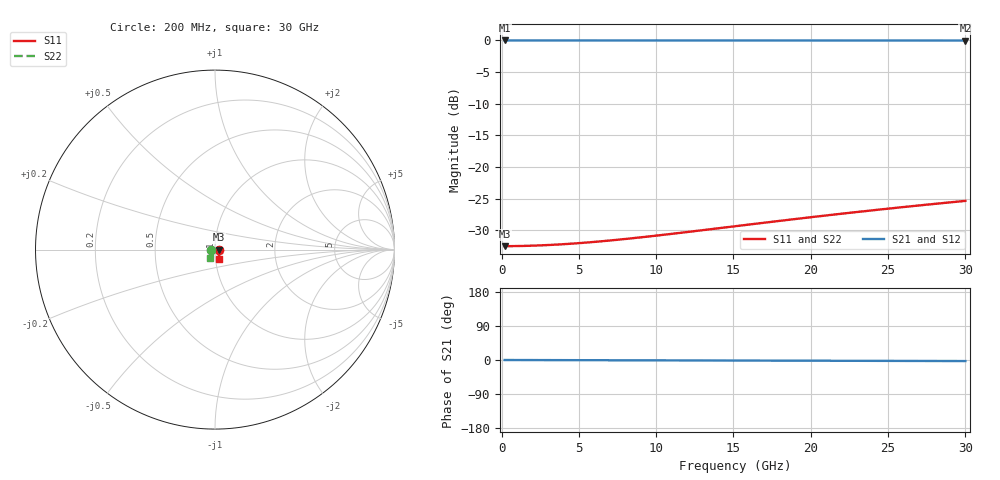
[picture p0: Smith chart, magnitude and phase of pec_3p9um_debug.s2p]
! Touchstone file exported from HFSS 2026.1.0
!  File:  C:/Users/urbaneja/Ansys/Project1.aedt
!  Generated:  01:16:19 PM Aug 10, 2026
!  Design:  HFSSDesign_PEC_sheet_debug
!  Project:  Project1
!  Setup:  Setup1
!  Solution:  Sweep_discrete_debug
! Variables:
!  port_below = 1um
!  port_width = 30um
!  stub_length = 3.9um
# GHz S MA R 50.000000
! Terminal data exported
! Port[1] = Port1
! Port[2] = Port2
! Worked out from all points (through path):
!   61 points, 200 MHz to 30 GHz, reference 50 ohm
!   highest |S21| = 0.00 dB at 200 MHz (marker M1); lowest = 0.0 dB at 30 GHz (marker M2)
!   lowest |S11| = -32.5 dB at 200 MHz (marker M3), VSWR 1.05, Z = 52.4 - j0.0348 ohm
!   |S11| at or under -10 dB: start of sweep to end of sweep
!   |S22| runs from -32.5 to -25.4 dB; largest |S21 - S12| = 7e-15
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0.2  0.02368 -0.8  0.9997 -0.0  0.9997 -0.0  0.02368 -179.2
! Gamma 0 12.9208215468787 0 12.9317684025605
! Port Impedance 50 0 50 0
0.6966667  0.0237 -2.8  0.9997 -0.1  0.9997 -0.1  0.0237 -177.3
1.193333  0.02376 -4.8  0.9997 -0.1  0.9997 -0.1  0.02376 -175.4
1.69  0.02384 -6.8  0.9997 -0.2  0.9997 -0.2  0.02384 -173.6
2.683333  0.02407 -10.6  0.9997 -0.3  0.9997 -0.3  0.02407 -169.9
3.676667  0.02441 -14.5  0.9997 -0.3  0.9997 -0.3  0.02441 -166.2
4.173333  0.02462 -16.3  0.9997 -0.4  0.9997 -0.4  0.02462 -164.5
5.166667  0.02511 -19.9  0.9997 -0.5  0.9997 -0.5  0.02511 -161.0
6.16  0.02569 -23.4  0.9997 -0.6  0.9997 -0.6  0.02569 -157.7
6.656667  0.02601 -25.1  0.9997 -0.6  0.9997 -0.6  0.02601 -156.2
7.65  0.02672 -28.3  0.9996 -0.7  0.9996 -0.7  0.02672 -153.1
9.14  0.02792 -32.9  0.9996 -0.9  0.9996 -0.9  0.02792 -148.9
10.63  0.02927 -37.0  0.9996 -1.0  0.9996 -1.0  0.02927 -145.0
12.61667  0.03126 -42.0  0.9995 -1.2  0.9995 -1.2  0.03126 -140.4
15.1  0.03402 -47.3  0.9994 -1.4  0.9994 -1.4  0.03402 -135.5
17.58333  0.03701 -51.9  0.9993 -1.7  0.9993 -1.7  0.03701 -131.4
20.06667  0.04018 -55.8  0.9992 -1.9  0.9992 -1.9  0.04018 -128.0
21.55667  0.04215 -57.9  0.9991 -2.0  0.9991 -2.0  0.04215 -126.2
23.04667  0.04416 -59.8  0.999 -2.2  0.999 -2.2  0.04416 -124.6
25.53  0.0476 -62.6  0.9989 -2.4  0.9989 -2.4  0.0476 -122.2
27.51667  0.0504 -64.6  0.9987 -2.6  0.9987 -2.6  0.0504 -120.6
30  0.05397 -66.8  0.9985 -2.8  0.9985 -2.8  0.05397 -118.8
